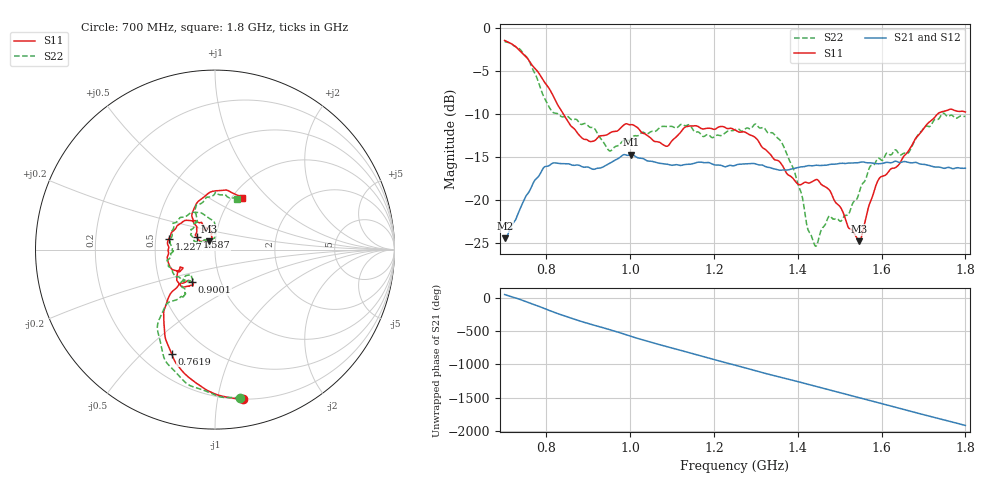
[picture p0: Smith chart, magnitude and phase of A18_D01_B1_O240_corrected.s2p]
! Created with skrf 1.9.0 (http://scikit-rf.org).
# Hz S RI R 50.0
!freq ReS11 ImS11 ReS21 ImS21 ReS12 ImS12 ReS22 ImS22
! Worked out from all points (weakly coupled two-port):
!   1601 points, 700 MHz to 1.8 GHz, reference 50 ohm
!   highest |S21| = -14.72 dB at 1.002 GHz (marker M1); lowest = -24.5 dB at 700.7 MHz (marker M2)
!   lowest |S11| = -24.8 dB at 1.547 GHz (marker M3), VSWR 1.12, Z = 46.5 + j4.28 ohm
!   |S11| at or under -10 dB: 840.4 MHz to 1.733 GHz (892.9 MHz wide, 69.4 % of centre)
!   |S22| runs from -25.4 to -1.5 dB; largest |S21 - S12| = 0.0036
!   S11 on the Smith chart (normalised r, x): 700 MHz: 0.20, -1.19; 761.9 MHz: 0.32, -0.62; 900.1 MHz: 0.73, -0.28; 1.227 GHz: 0.59, +0.07; 1.587 GHz: 0.81, +0.11; 1.8 GHz: 1.11, +0.72
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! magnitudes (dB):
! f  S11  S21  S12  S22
! 700 MHz  -1.4  -24.5  -24.3  -1.5
! 700.7 MHz  -1.4  -24.5  -24.2  -1.6
! 761.9 MHz  -4.0  -18.7  -18.7  -4.2
! 812.1 MHz  -7.5  -15.8  -15.8  -9.6
! 883.6 MHz  -12.7  -16.1  -16.0  -11.2
! 900.1 MHz  -13.1  -16.2  -16.2  -11.4
! 950.9 MHz  -12.2  -15.7  -15.7  -14.3
! 1.002 GHz  -11.2  -14.7  -14.8  -12.8
! 1.067 GHz  -13.2  -15.7  -15.6  -11.7
! 1.227 GHz  -11.6  -16.1  -16.1  -12.2
! 1.25 GHz  -11.9  -16.0  -15.9  -11.8
! 1.359 GHz  -15.7  -16.5  -16.5  -13.2
! 1.392 GHz  -17.7  -16.3  -16.3  -16.8
! 1.434 GHz  -17.9  -16.0  -16.0  -24.4
! 1.474 GHz  -18.8  -15.9  -15.9  -21.9
! 1.504 GHz  -21.1  -15.7  -15.7  -22.4
! 1.547 GHz  -24.8  -15.6  -15.6  -19.0
! 1.587 GHz  -18.3  -15.8  -15.8  -15.5
! 1.617 GHz  -16.7  -15.6  -15.6  -14.6
! 1.663 GHz  -14.4  -15.6  -15.6  -14.6
! 1.735 GHz  -9.9  -16.2  -16.2  -10.6
! 1.8 GHz  -9.7  -16.3  -16.3  -10.3
